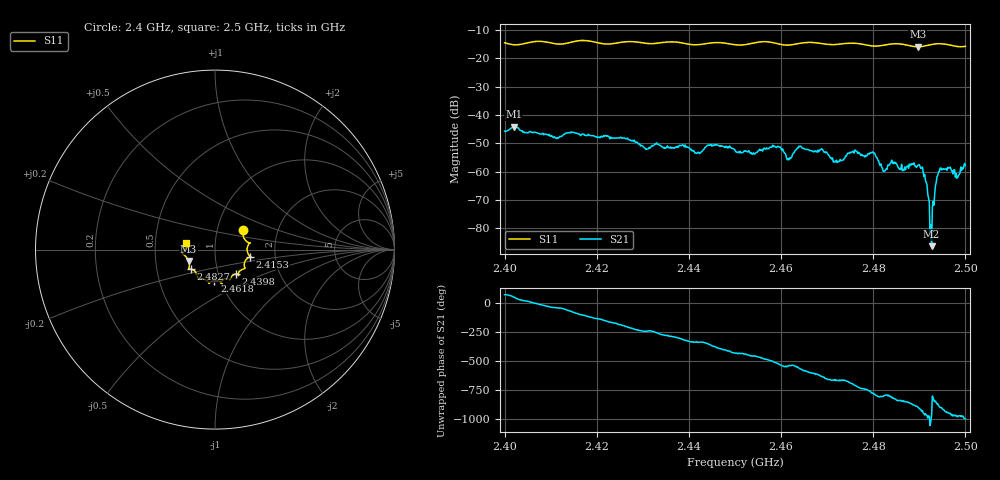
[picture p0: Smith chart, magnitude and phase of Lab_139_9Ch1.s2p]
# Hz S RI R 50
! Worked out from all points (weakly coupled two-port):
!   601 points, 2.4 GHz to 2.5 GHz, reference 50 ohm
!   highest |S21| = -44.15 dB at 2.402 GHz (marker M1); lowest = -86.3 dB at 2.4927 GHz (marker M2)
!   lowest |S11| = -15.9 dB at 2.4897 GHz (marker M3), VSWR 1.38, Z = 36.9 - j4.8 ohm
!   |S11| at or under -10 dB: start of sweep to end of sweep
!   S12 and S22 are empty: the file has one direction only
!   S11 on the Smith chart (normalised r, x): 2.4 GHz: 1.33, +0.29; 2.4153 GHz: 1.48, -0.12; 2.4398 GHz: 1.21, -0.34; 2.4618 GHz: 0.94, -0.33; 2.4827 GHz: 0.75, -0.17; 2.5 GHz: 0.72, +0.06
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2.4e9  0.1552 0.1067  0.0015 0.00497  0 0  0 0
2.402e9  0.1575 0.0741  0.00371 0.00498  0 0  0 0
2.415333e9  0.1967 -0.0393  0.000401 -0.00479  0 0  0 0
2.416667e9  0.2026 -0.0434  -0.000709 -0.00453  0 0  0 0
2.433333e9  0.13 -0.1338  -0.000545 0.003  0 0  0 0
2.439833e9  0.1156 -0.1363  0.00221 0.00151  0 0  0 0
2.45e9  0.0647 -0.1619  0.000766 -0.00229  0 0  0 0
2.459e9  0.0309 -0.1811  -0.00244 -0.00105  0 0  0 0
2.461833e9  -0.00286 -0.1724  -0.00175 -9.54e-05  0 0  0 0
2.463833e9  -0.0262 -0.181  -0.00267 0.00091  0 0  0 0
2.466667e9  -0.0341 -0.1882  -0.00107 0.00206  0 0  0 0
2.471833e9  -0.0682 -0.1621  0.000922 0.00117  0 0  0 0
2.479833e9  -0.1088 -0.1248  0.0013 -0.00182  0 0  0 0
2.482667e9  -0.1351 -0.1086  0.000309 -0.00101  0 0  0 0
2.483333e9  -0.1402 -0.1082  0.000361 -0.00124  0 0  0 0
2.489667e9  -0.1473 -0.0633  -0.00129 -9.35e-05  0 0  0 0
2.491167e9  -0.1595 -0.0425  -0.000387 0.000805  0 0  0 0
2.492167e9  -0.1693 -0.0323  -6.8e-05 0.00028  0 0  0 0
2.492667e9  -0.1735 -0.0284  -2.08e-05 4.38e-05  0 0  0 0
2.4945e9  -0.1803 -0.0204  -0.00115 -8.7e-06  0 0  0 0
2.498333e9  -0.1616 0.0102  -0.000131 0.000779  0 0  0 0
2.5e9  -0.159 0.0386  0.000179 0.00126  0 0  0 0
